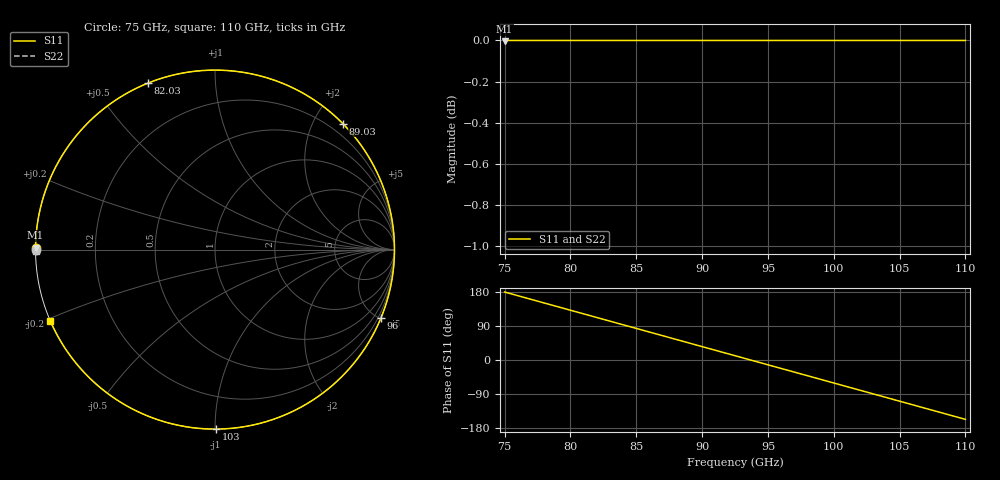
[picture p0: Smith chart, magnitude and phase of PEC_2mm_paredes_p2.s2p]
! TOUCHSTONE file generated by CST MICROWAVE STUDIO
! Date and time: Tue Feb 13 13:36:46 2024
! Project name: metal_paredes.cst
! Header version: 2018
! Port assignment regex: !\s*Touchstone port\s*([0-9]+)\s*=\s*(CST MWS port|CST DS port)\s*([0-9]+|Zmin|Zmax)\s*\(\"(.*)\"\)(\s*mode\s*([0-9]+))?.*
! Touchstone port assignment:
! Touchstone port 1 = CST MWS port 1 ("")
! Touchstone port 2 = CST MWS port 2 ("")
# GHz S MA R 376.7
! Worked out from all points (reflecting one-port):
!   1001 points, 75 GHz to 110 GHz, reference 376.7 ohm
!   lowest |S11| = 0.0 dB at 75 GHz (marker M1)
!   phase of S11 starts at 179 deg and turns -336 deg over the sweep
!   S11 on the Smith chart (normalised r, x): 75 GHz: 0.00, +0.01; 82.03 GHz: 0.00, +0.68; 89.03 GHz: 0.00, +2.44; 96 GHz: 0.00, -5.07; 103 GHz: 0.00, -1.01; 110 GHz: -0.00, -0.21
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75  0.9996 179.3  0 0.0  0 0.0  0.9997 -179.9
76.4  1 165.9  3.699e-65 -180.0  3.699e-65 -180.0  1 -179.9
77.8  1 152.5  3.399e-65 -180.0  3.399e-65 -180.0  1 -179.9
79.27  1 138.4  2.999e-65 -180.0  2.999e-65 -180.0  1 -179.9
80.845  1 123.2  2.7e-65 -180.0  2.7e-65 -180.0  1 -179.9
82.035  1 111.8  2.4e-65 -180.0  2.4e-65 -180.0  1 -179.9
84.345  1 89.6  1.9e-65 -180.0  1.9e-65 -180.0  1 -179.9
85.5  1 78.6  1.6e-65 -180.0  1.6e-65 -180.0  1 -179.8
86.69  1 67.1  1.4e-65 -180.0  1.4e-65 -180.0  1 -179.8
89.035  1 44.6  8e-66 -180.0  8e-66 -180.0  1 -179.8
90.82  1 27.5  5e-66 -180.0  5e-66 -180.0  1 -179.8
92.5  1 11.3  0 0.0  0 0.0  0.9999 -179.8
94.25  1 -5.5  4e-66 -0.0  4e-66 -0.0  1 -179.8
96  1 -22.3  8e-66 -0.0  8e-66 -0.0  1 -179.8
98.345  1 -44.9  1.4e-65 -0.0  1.4e-65 -0.0  1 -179.8
100.725  1 -67.7  1.9e-65 -0.0  1.9e-65 -0.0  1 -179.8
103  1 -89.6  2.3e-65 -0.0  2.3e-65 -0.0  1 -179.8
104.19  1 -101.0  2.6e-65 -0.0  2.6e-65 -0.0  1 -179.8
105.485  1 -113.4  2.9e-65 -0.0  2.9e-65 -0.0  1 -179.8
106.85  1 -126.5  3.299e-65 -0.0  3.299e-65 -0.0  0.9999 -179.7
108.53  1 -142.6  3.699e-65 -0.0  3.699e-65 -0.0  1 -179.7
110  1 -156.7  0 0.0  0 0.0  1 -179.6
